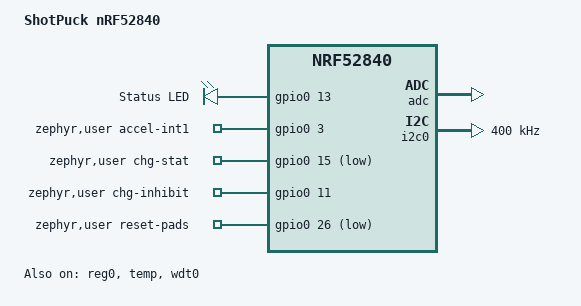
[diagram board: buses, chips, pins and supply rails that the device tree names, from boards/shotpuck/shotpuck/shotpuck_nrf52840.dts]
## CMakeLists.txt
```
# ShotPuck firmware - Zephyr 4.1 (also builds in nRF Connect SDK v3.0+)
cmake_minimum_required(VERSION 3.20.0)
list(APPEND BOARD_ROOT ${CMAKE_CURRENT_SOURCE_DIR})
find_package(Zephyr REQUIRED HINTS $ENV{ZEPHYR_BASE})
project(shotpuck)

target_sources(app PRIVATE
  src/main.c
  src/shot_detect.c
  src/accel.c
  src/capture.c
  src/capture_tx.c
  src/capcodec.c
  src/capdec.c
  src/capflash.c
  src/capstore.c
  src/capstore_layout.c
  src/capstore_scan.c
  src/capwriter.c
  src/chg_led.c
  src/evlog.c
  src/factory.c
  src/event_tx.c
  src/evq.c
  src/claim.c
  src/diag.c
  src/identity.c
  src/led.c
  src/led_seq.c
  src/ota.c
  src/power.c
  src/recovery.c
  src/store.c
  src/ble.c
  src/wire.c
)
```

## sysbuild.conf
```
SB_CONFIG_BOOTLOADER_MCUBOOT=y
SB_CONFIG_MCUBOOT_MODE_SWAP_USING_MOVE=y
SB_CONFIG_BOOT_SIGNATURE_TYPE_ECDSA_P256=y
```

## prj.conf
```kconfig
# ---- core
CONFIG_FPU=y
CONFIG_MAIN_STACK_SIZE=3072
CONFIG_SYSTEM_WORKQUEUE_STACK_SIZE=2048
CONFIG_GPIO=y
CONFIG_I2C=y
CONFIG_ADC=y
CONFIG_SENSOR=y
CONFIG_POWEROFF=y
CONFIG_LTO=y
CONFIG_ISR_TABLES_LOCAL_DECLARATION=y
CONFIG_CBPRINTF_FP_SUPPORT=n
CONFIG_PICOLIBC_IO_LONG_LONG=y

# ---- storage (lifetime count, thresholds)
CONFIG_FLASH=y
CONFIG_FLASH_MAP=y
CONFIG_NVS=y
CONFIG_SETTINGS=y
CONFIG_SETTINGS_NVS=y

# ---- Bluetooth LE peripheral
CONFIG_BT=y
CONFIG_BT_PERIPHERAL=y
CONFIG_BT_DEVICE_NAME="ShotPuck"
CONFIG_BT_MAX_CONN=1
CONFIG_BT_BAS=y
CONFIG_BT_GATT_CLIENT=y
CONFIG_BT_L2CAP_TX_MTU=247
CONFIG_BT_BUF_ACL_RX_SIZE=251
CONFIG_BT_BUF_ACL_TX_SIZE=251
CONFIG_BT_ATT_TX_COUNT=8
CONFIG_BT_CTLR_DATA_LENGTH_MAX=251
CONFIG_BT_GAP_AUTO_UPDATE_CONN_PARAMS=y
CONFIG_BT_PERIPHERAL_PREF_MIN_INT=84
CONFIG_BT_PERIPHERAL_PREF_MAX_INT=168
CONFIG_BT_PERIPHERAL_PREF_LATENCY=4
CONFIG_BT_PERIPHERAL_PREF_TIMEOUT=400
CONFIG_BT_DEVICE_NAME_DYNAMIC=y
CONFIG_BT_CTLR_PRIVACY=n
CONFIG_BT_CTLR_FILTER_ACCEPT_LIST=n
CONFIG_BT_CTLR_LE_PING=n
CONFIG_BT_CTLR_PER_INIT_FEAT_XCHG=n
CONFIG_BT_CTLR_MIN_USED_CHAN=n

# ---- pairing: LE Secure Connections, new bonds only while the charger is attached
CONFIG_BT_SMP=y
CONFIG_BT_SETTINGS=y
CONFIG_BT_SMP_APP_PAIRING_ACCEPT=y
CONFIG_BT_MAX_PAIRED=4
CONFIG_BT_KEYS_OVERWRITE_OLDEST=y

# ---- identity: Device Information Service with the chip's unique ID
CONFIG_HWINFO=y
CONFIG_INIT_STACKS=y
CONFIG_SETTINGS_RUNTIME=y
CONFIG_BT_DIS=y
CONFIG_BT_DIS_SETTINGS=y
CONFIG_BT_DIS_SERIAL_NUMBER=y
CONFIG_BT_DIS_MODEL_NUMBER_STR="ShotPuck"
CONFIG_BT_DIS_MANUF_NAME=n
CONFIG_BT_DIS_PNP=n
CONFIG_BT_DIS_FW_REV=y

# ---- OTA: MCUboot (sysbuild) + MCUmgr SMP over BLE, paired phones only
CONFIG_MCUMGR=y
CONFIG_ZCBOR=y
CONFIG_NET_BUF=y
CONFIG_STREAM_FLASH=y
CONFIG_IMG_MANAGER=y
CONFIG_IMG_ERASE_PROGRESSIVELY=y
CONFIG_MCUMGR_GRP_IMG=y
CONFIG_MCUMGR_GRP_OS=y
CONFIG_MCUMGR_GRP_OS_ECHO=n
CONFIG_MCUMGR_TRANSPORT_BT=y
CONFIG_MCUMGR_TRANSPORT_BT_PERM_RW_ENCRYPT=y
CONFIG_MCUMGR_TRANSPORT_BT_REASSEMBLY=y

# ---- watchdog: a hung image resets, and MCUboot reverts an unconfirmed one
CONFIG_WATCHDOG=y

# ---- low power release build: no UART, no logging
CONFIG_SERIAL=n
CONFIG_CONSOLE=n
CONFIG_UART_CONSOLE=n
CONFIG_LOG=n
CONFIG_PRINTK=n
CONFIG_BOOT_BANNER=n
```

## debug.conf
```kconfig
# Debug overlay: west build ... -- -DEXTRA_CONF_FILE=debug.conf
# Logs over SEGGER RTT via the SWD (Tag-Connect) header.
# Upstream Zephyr: `west config manifest.project-filter -- +segger` and
# `west update` first. nRF Connect SDK includes it already.
CONFIG_LOG=y
CONFIG_USE_SEGGER_RTT=y
CONFIG_LOG_BACKEND_RTT=y
CONFIG_LOG_BACKEND_UART=n
```

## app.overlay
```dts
&reg1 {
	regulator-initial-mode = <NRF5X_REG_MODE_DCDC>;
};
```

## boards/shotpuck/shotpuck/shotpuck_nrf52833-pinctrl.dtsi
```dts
/* ShotPuck pin control. Pins chosen from the MDBT50Q bottom pad row. */
&pinctrl {
	i2c0_default: i2c0_default {
		group1 {
			psels = <NRF_PSEL(TWIM_SCL, 0, 4)>,
				<NRF_PSEL(TWIM_SDA, 0, 6)>;
			bias-pull-up;   /* internal pull-ups; external 4.7k DNP pads on PCB */
		};
	};
	i2c0_sleep: i2c0_sleep {
		group1 {
			psels = <NRF_PSEL(TWIM_SCL, 0, 4)>,
				<NRF_PSEL(TWIM_SDA, 0, 6)>;
			low-power-enable;
		};
	};
};
```

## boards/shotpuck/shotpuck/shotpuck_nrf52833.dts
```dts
/*
 * ShotPuck - nRF52833 (Raytac MDBT50Q-512K), VDDH = Li-ion cell.
 *
 * Pin map (MDBT50Q pad -> signal):
 *   P0.04 (20) I2C SCL      -> LSM6DSO32 SCL
 *   P0.06 (22) I2C SDA      -> LSM6DSO32 SDA
 *   P0.08 (24) ACCEL_INT1   <- LSM6DSO32 INT1
 *   P1.09 (26) CHG_STAT     <- MCP73831 STAT via BAT54 (low = charging)
 *   P0.27 (16) CHG_INHIBIT  -> Q2 gate (high = charging disabled)
 *   P0.13 (37) LED          -> LED anode via 1k (active high)
 *   VBUS  (32)              <- charger input after reverse-polarity diode
 */
/dts-v1/;
#include <nordic/nrf52833_qiaa.dtsi>
#include "shotpuck_nrf52833-pinctrl.dtsi"

/ {
	model = "ShotPuck nRF52833";
	compatible = "shotpuck,shotpuck-nrf52833";

	chosen {
		zephyr,sram = &sram0;
		zephyr,flash = &flash0;
		zephyr,code-partition = &slot0_partition;
		zephyr,settings-partition = &storage_partition;
	};

	leds {
		compatible = "gpio-leds";
		led0: led_0 {
			gpios = <&gpio0 13 GPIO_ACTIVE_HIGH>;
			label = "Status LED";
		};
	};

	zephyr,user {
		accel-int1-gpios = <&gpio0 8 GPIO_ACTIVE_HIGH>;
		chg-stat-gpios = <&gpio1 9 GPIO_ACTIVE_LOW>;
		chg-inhibit-gpios = <&gpio0 27 GPIO_ACTIVE_HIGH>;
	};

	aliases {
		led0 = &led0;
		watchdog0 = &wdt0;
	};
};

/* No DC/DC inductors assumed: REG0 and REG1 in LDO mode (works on every
 * module variant; see README "decisions" to enable DC/DC). */
&reg0 {
	status = "okay";
};

&reg1 {
	regulator-initial-mode = <NRF5X_REG_MODE_LDO>;
};

&adc {
	status = "okay";
};

&temp {
	status = "okay";
};

&gpiote {
	status = "okay";
};

&gpio0 {
	status = "okay";
};

&gpio1 {
	status = "okay";
};

&i2c0 {
	compatible = "nordic,nrf-twim";
	status = "okay";
	clock-frequency = <I2C_BITRATE_FAST>;
	pinctrl-0 = <&i2c0_default>;
	pinctrl-1 = <&i2c0_sleep>;
	pinctrl-names = "default", "sleep";
};

&flash0 {
	partitions {
		compatible = "fixed-partitions";
		#address-cells = <1>;
		#size-cells = <1>;

		boot_partition: partition@0 {
			label = "mcuboot";
			reg = <0x00000000 0xC000>;
		};
		slot0_partition: partition@c000 {
			label = "image-0";
			reg = <0x0000C000 0x37000>;
		};
		slot1_partition: partition@43000 {
			label = "image-1";
			reg = <0x00043000 0x2F000>;
		};
		eventlog_partition: partition@72000 {
			label = "eventlog";
			reg = <0x00072000 0x00008000>;
		};
		storage_partition: partition@7a000 {
			label = "storage";
			reg = <0x0007A000 0x00006000>;
		};
	};
};
```

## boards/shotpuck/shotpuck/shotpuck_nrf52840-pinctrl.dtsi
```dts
/* ShotPuck pin control. I2C on the BMD-340's left pad column, next to the IMU. */
&pinctrl {
	i2c0_default: i2c0_default {
		group1 {
			psels = <NRF_PSEL(TWIM_SCL, 0, 7)>,
				<NRF_PSEL(TWIM_SDA, 0, 5)>;
			bias-pull-up;   /* internal pull-ups */
		};
	};
	i2c0_sleep: i2c0_sleep {
		group1 {
			psels = <NRF_PSEL(TWIM_SCL, 0, 7)>,
				<NRF_PSEL(TWIM_SDA, 0, 5)>;
			low-power-enable;
		};
	};
};
```

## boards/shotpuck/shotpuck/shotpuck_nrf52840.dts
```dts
/*
 * ShotPuck - nRF52840 (u-blox BMD-340), VCCH = Li-ion cell.
 *
 * Pin map (BMD-340 pad -> signal):
 *   P0.05 (21) I2C SDA      -> LSM6DSV32X SDA
 *   P0.07 (23) I2C SCL      -> LSM6DSV32X SCL
 *   P0.03 (19) ACCEL_INT1   <- LSM6DSV32X INT1
 *   P0.15 (33) CHG_STAT     <- MCP73831 STAT via BAT54J (low = charging)
 *   P0.11 (27) CHG_INHIBIT  -> Q1B gate (high = charging disabled)
 *   P0.13 (31) LED          -> LED anode via 1k (active high)
 *   VBUS  (66)              <- charger input after reverse-polarity diode, 1k/100n filter
 */
/dts-v1/;
#include <nordic/nrf52840_qiaa.dtsi>
#include "shotpuck_nrf52840-pinctrl.dtsi"

/ {
	model = "ShotPuck nRF52840";
	compatible = "shotpuck,shotpuck-nrf52840";

	chosen {
		zephyr,sram = &sram0;
		zephyr,flash = &flash0;
		zephyr,code-partition = &slot0_partition;
		zephyr,settings-partition = &storage_partition;
	};

	leds {
		compatible = "gpio-leds";
		led0: led_0 {
			gpios = <&gpio0 13 GPIO_ACTIVE_HIGH>;
			label = "Status LED";
		};
	};

	zephyr,user {
		accel-int1-gpios = <&gpio0 3 GPIO_ACTIVE_HIGH>;
		chg-stat-gpios = <&gpio0 15 GPIO_ACTIVE_LOW>;
		chg-inhibit-gpios = <&gpio0 11 GPIO_ACTIVE_HIGH>;
		reset-pads-gpios = <&gpio0 26 (GPIO_PULL_UP | GPIO_ACTIVE_LOW)>;
	};

	aliases {
		led0 = &led0;
		watchdog0 = &wdt0;
	};
};

/* No DC/DC inductors assumed: REG0 and REG1 in LDO mode (works on every
 * module variant; see README "decisions" to enable DC/DC). */
&reg0 {
	status = "okay";
};

&reg1 {
	regulator-initial-mode = <NRF5X_REG_MODE_LDO>;
};

&adc {
	status = "okay";
};

&temp {
	status = "okay";
};

&wdt0 {
	status = "okay";
};

&gpiote {
	status = "okay";
};

&gpio0 {
	status = "okay";
};

&gpio1 {
	status = "okay";
};

&i2c0 {
	compatible = "nordic,nrf-twim";
	status = "okay";
	clock-frequency = <I2C_BITRATE_FAST>;
	pinctrl-0 = <&i2c0_default>;
	pinctrl-1 = <&i2c0_sleep>;
	pinctrl-names = "default", "sleep";
};

&flash0 {
	partitions {
		compatible = "fixed-partitions";
		#address-cells = <1>;
		#size-cells = <1>;

		boot_partition: partition@0 {
			label = "mcuboot";
			reg = <0x00000000 0x0000C000>;
		};
		slot0_partition: partition@c000 {
			label = "image-0";
			reg = <0x0000C000 0x00040000>;
		};
		slot1_partition: partition@4c000 {
			label = "image-1";
			reg = <0x0004C000 0x00040000>;
		};
		capture_partition: partition@8c000 {
			label = "captures";
			reg = <0x0008C000 0x00066000>;
		};
		eventlog_partition: partition@f2000 {
			label = "eventlog";
			reg = <0x000F2000 0x00008000>;
		};
		storage_partition: partition@fa000 {
			label = "storage";
			reg = <0x000FA000 0x00006000>;
		};
	};
};
```

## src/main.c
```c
/*
 * main.c - ShotPuck application.
 *
 * Event loop on one thread; all I2C and flash work happens here. ISRs and
 * BT callbacks only set flags / queue messages and give wake_sem.
 *
 *   IDLE   : LSM6DSV32X accelerometer at 15 Hz with wake interrupt, gyro
 *            off, CPU asleep. Advertising stops ADV_LINGER_MS after IDLE.
 *   ACTIVE : 480 Hz accel + gyro FIFO -> shot_detect.c and the capture
 *            ring; advertising / connected. Back to IDLE after
 *            cfg.idle_timeout_ms of stillness.
 */
#include <app_version.h>
#include <string.h>
#include <zephyr/kernel.h>
#include <zephyr/logging/log.h>
#include <zephyr/sys/atomic.h>
#include <zephyr/sys/byteorder.h>

#include "accel.h"
#include "ble.h"
#include "capflash.h"
#include "capture.h"
#include "capture_tx.h"
#include "capwriter.h"
#include "chg_led.h"
#include "claim.h"
#include "diag.h"
#include "event_tx.h"
#include "factory.h"
#include "led.h"
#include "ota.h"
#include "power.h"
#include "protocol.h"
#include "recovery.h"
#include "shot_detect.h"
#include "store.h"
#include "wire.h"

LOG_MODULE_REGISTER(main, LOG_LEVEL_INF);

#define FW_MAJOR APP_VERSION_MAJOR
#define FW_MINOR APP_VERSION_MINOR
#define ADV_LINGER_MS 120000
#define HOUSEKEEP_ACTIVE_MS 10000
#define HOUSEKEEP_IDLE_MS 60000
#define FIFO_BATCH_SAMPLES 32
#define FIFO_WATERMARK_SAMPLES 26
#define FIFO_DRAIN_ROUNDS 4
#define CTRL_SEQ_MSG_LEN 5
#define TX_POLL_MS 20
#define ACTIVE_POLL_MS 1000
#define IDLE_POLL_MS 2000
#define CLAIM_POLL_MS 250
#define CHARGER_POLL_MS 500
#define PAD_POLL_MS 250
#define CLAIM_BLINK_PERIOD_MS 1000
#define SENSOR_RETRY_MS 5000
#define SENSOR_STALL_MS 5000
#define NO_SENSOR_POLL_MS 1000

static K_SEM_DEFINE(wake_sem, 0, 1);
static atomic_t accel_pending;
static atomic_t conn_event;

struct ctrl_msg {
	uint8_t len;
	uint8_t data[16];
};
K_MSGQ_DEFINE(ctrl_q, sizeof(struct ctrl_msg), 4, 4);
K_MSGQ_DEFINE(cfg_q, sizeof(sp_config_t), 1, 4);

static store_t st;
static cap_t cap;
static capstore_t capstore;
static capw_t capw;
static bool captures_ok;
static sd_state_t det;

static wire_clock_t wall_clock;

static uint32_t active_start_ms;
static uint32_t sample_idx;
static uint32_t idle_since_ms;
static uint32_t last_batch_ms;

/* ---------------------------------------------------------------- utils */

static void resume_seq(void)
{
	st.seq = seq_resume(st.seq, event_tx_newest_seq());
	store_save_counts(&st);
}

static void publish_count(void)
{
	sp_count_t c = {.total = st.total, .last_seq = st.seq};
	ble_update_count(&c);
}

static void publish_status(void)
{
	const power_state_t *p = power_state();
	sp_status_t s = {
		.battery_pct = p->battery_pct,
		.battery_mv = p->battery_mv,
		.temp_c = p->temp_c,
		.flags = (p->vbus ? SP_ST_VBUS : 0) | (p->charging ? SP_ST_CHARGING : 0) |
			 (p->chg_inhibit ? SP_ST_CHG_INHIBIT : 0) |
			 (det.mode == SD_MODE_ACTIVE ? SP_ST_ACTIVE : 0) |
			 (wall_clock.set ? SP_ST_TIME_SET : 0),
		.fw_major = FW_MAJOR,
		.fw_minor = FW_MINOR,
	};
	ble_update_status(&s);
	diag_publish(&st);
}

/* ---------------------------------------------------------- callbacks */

static void accel_isr(void)
{
	atomic_set(&accel_pending, 1);
	k_sem_give(&wake_sem);
}

static int on_ctrl(const uint8_t *data, uint16_t len)
{
	struct ctrl_msg m = {.len = (uint8_t)MIN(len, sizeof(m.data))};
	memcpy(m.data, data, m.len);
	int err = k_msgq_put(&ctrl_q, &m, K_NO_WAIT);

	if (err == 0) {
		k_sem_give(&wake_sem);
	}
	return err;
}

static int on_cfg(const sp_config_t *c)
{
	k_msgq_purge(&cfg_q);
	int err = k_msgq_put(&cfg_q, c, K_NO_WAIT);

	k_sem_give(&wake_sem);
	return err;
}

static void on_tx_done(void)
{
	k_sem_give(&wake_sem);
}

static void on_conn(bool connected)
{
	ARG_UNUSED(connected);
	atomic_set(&conn_event, 1);
	k_sem_give(&wake_sem);
}

/* -------------------------------------------------------------- modes */

static void go_active(void)
{
	accel_set_active();
	active_start_ms = k_uptime_get_32();
	last_batch_ms = active_start_ms;
	sample_idx = 0;
	cap_reset(&cap);
	sd_start_active(&det, active_start_ms);
	ble_adv_start();
	LOG_INF("ACTIVE");
}

static void go_idle(void)
{
	accel_set_idle((uint16_t)st.cfg.wake_mg);
	det.mode = SD_MODE_IDLE;
	idle_since_ms = k_uptime_get_32();
	store_save_counts(&st);
	LOG_INF("IDLE");
}

/* ------------------------------------------------------------- events */

static void request_capture(const sd_event_t *e, uint32_t seq)
{
	capw_request_t req = {
		.seq = seq,
		.trigger = cap_ms_to_index(e->t_ms - active_start_ms),
		.epoch = cap.epoch,
		.mode = st.capture_mode,
	};

	if (captures_ok) {
		capw_request(&capw, &req);
	}
}

static void handle_detection(const sd_event_t *e, int64_t uptime_ms)
{
	sp_event_t w = {
		.seq = ++st.seq,
		.t_unix_ms = wire_clock_unix_ms(&wall_clock, uptime_ms),
		.t_uptime_ms = (uint32_t)uptime_ms,
		.peak_hf_mg = e->peak_hf_mg,
		.pre_still_ms = e->pre_still_ms,
		.post_lf_mg = e->post_lf_mg,
		.accepted = e->accepted,
		.reason = e->reason,
	};
	event_tx_record(&w);
	if (e->accepted) {
		st.total++;
		store_save_counts(&st);
		publish_count();
		request_capture(e, w.seq);
		led_play(LED_SHOT);
		LOG_INF("SHOT #%u pk=%u still=%u lf=%u", st.total, e->peak_hf_mg,
			e->pre_still_ms, e->post_lf_mg);
	} else {
		LOG_INF("reject r=%u pk=%u still=%u lf=%u", e->reason, e->peak_hf_mg,
			e->pre_still_ms, e->post_lf_mg);
	}
}

static uint32_t sample_ms(uint32_t index)
{
	return active_start_ms + cap_index_to_ms(index);
}

static void restart_stream(uint32_t now)
{
	LOG_WRN("FIFO overrun");
	active_start_ms = now;
	sample_idx = 0;
	cap_reset(&cap);
	sd_start_active(&det, now);
}

static void process_batch(const accel_fifo_t *fifo, uint32_t n)
{
	int64_t now = k_uptime_get();
	uint32_t t_last = sample_ms(sample_idx + n - 1u);

	for (uint32_t i = 0; i < n; i++) {
		int16_t mg[3];
		sd_event_t e;

		cap_push(&cap, &fifo->samples[i]);
		accel_to_mg(&fifo->samples[i], mg);
		if (sd_process(&det, mg, sample_ms(sample_idx++), &e)) {
			handle_detection(&e, now - (t_last - e.t_ms));
		}
	}
}

static void handle_accel(void)
{
	static sp_cap_sample_t buf[FIFO_BATCH_SAMPLES];
	accel_fifo_t fifo = {.samples = buf, .max = FIFO_BATCH_SAMPLES};

	if (accel_mode() == ACCEL_IDLE) {
		if (accel_clear_wake() > 0) {
			go_active();
		} else {
			accel_irq_rearm();
		}
		return;
	}
	if (accel_mode() != ACCEL_ACTIVE) {
		return;
	}
	for (int round = 0; round < FIFO_DRAIN_ROUNDS; round++) {
		int n = accel_read_fifo(&fifo);
		if (n <= 0) {
			break;
		}
		if (fifo.overrun) {
			restart_stream(k_uptime_get_32());
		}
		process_batch(&fifo, (uint32_t)n);
		last_batch_ms = k_uptime_get_32();
		if (n < FIFO_WATERMARK_SAMPLES) {
			break;
		}
	}
	if (sd_active_should_sleep(&det, sample_ms(sample_idx))) {
		go_idle();
	} else {
		accel_irq_rearm();
	}
}

static void handle_ctrl(void)
{
	struct ctrl_msg m;

	while (k_msgq_get(&ctrl_q, &m, K_NO_WAIT) == 0) {
		switch (m.data[0]) {
		case SP_CTRL_SET_TIME:
			if (m.len >= 9) {
				wire_time_t now = {
					.unix_ms = (int64_t)sys_get_le64(&m.data[1]),
					.uptime_ms = k_uptime_get(),
				};
				wire_clock_set(&wall_clock, &now);
				publish_status();
			}
			break;
		case SP_CTRL_RESET_COUNT:
			st.total = 0;
			store_save_counts(&st);
			publish_count();
			break;
		case SP_CTRL_REPLAY:
			if (m.len >= 5) {
				event_tx_replay(sys_get_le32(&m.data[1]));
			}
			break;
		case SP_CTRL_FACTORY_CFG: {
			sp_config_t w;
			sd_default_config(&st.cfg);
			det.cfg = st.cfg;
			store_save_cfg(&st);
			wire_config_out(&st, &w);
			ble_update_config(&w);
			break;
		}
		case SP_CTRL_GET_CAPTURE:
			if (m.len >= CTRL_SEQ_MSG_LEN) {
				cap_tx_queue(sys_get_le32(&m.data[1]));
			}
			break;
		case SP_CTRL_FORGET_BONDS:
			claim_forget_all();
			break;
		case SP_CTRL_LED_BLINK:
			led_play(LED_FIND);
			break;
		default:
			break;
		}
	}
}

static bool sensor_stuck(void)
{
	if (det.mode == SD_MODE_ACTIVE) {
		return k_uptime_get_32() - last_batch_ms >= SENSOR_STALL_MS;
	}
	return !accel_idle_ok();
}

static void check_sensor(void)
{
	if (!sensor_stuck()) {
		return;
	}
	LOG_WRN("IMU not responding: re-initialising");
	if (accel_init(accel_isr) != 0) {
		return;
	}
	if (det.mode == SD_MODE_ACTIVE) {
		go_active();
	} else {
		accel_set_idle((uint16_t)st.cfg.wake_mg);
	}
}

static void apply_config(void)
{
	sp_config_t c;

	if (k_msgq_get(&cfg_q, &c, K_NO_WAIT) != 0) {
		return;
	}
	wire_config_in(&c, &st);
	det.cfg = st.cfg;
	store_save_cfg(&st);
	LOG_INF("config updated");
}

static void housekeeping(void)
{
	power_update();
	if (power_should_cutoff()) {
		store_save_counts(&st);
		accel_off();
		ble_adv_stop();
		power_off_until_charger();
	}
	check_sensor();
	publish_status();
}

static void check_boot_battery(void)
{
	for (uint32_t i = 0; i < RECOVERY_LOW_BATTERY_READINGS; i++) {
		power_update();
	}
	if (power_should_cutoff()) {
		accel_off();
		power_off_until_charger();
	}
}

static void wait_without_sensor(void)
{
	for (uint32_t waited = 0; waited < SENSOR_RETRY_MS; waited += NO_SENSOR_POLL_MS) {
		if (ota_image_confirmed()) {
			ota_feed();
		}
		if (!ble_is_connected()) {
			ble_adv_start();
		}
		led_play(LED_NO_SENSOR);
		k_msleep(NO_SENSOR_POLL_MS);
	}
}

static void wait_for_sensor(void)
{
	while (accel_init(accel_isr) != 0) {
		wait_without_sensor();
	}
}

static void claim_feedback(void)
{
	static uint32_t last_blink_ms;
	uint32_t now = k_uptime_get_32();

	if (claim_take_paired()) {
		led_play(LED_PAIRED);
	}
	if (claim_is_open() && now - last_blink_ms >= CLAIM_BLINK_PERIOD_MS) {
		last_blink_ms = now;
		led_play(LED_CLAIM);
	}
}

static void charge_feedback(void)
{
	static uint32_t last_tick_ms;
	uint32_t now = k_uptime_get_32();

	if (!power_vbus_present() || claim_is_open()) {
		led_steady((led_steady_t){LED_STEADY_CHARGE_FULL, false});
		return;
	}
	if (now - last_tick_ms < CHG_LED_TICK_MS) {
		return;
	}
	last_tick_ms = now;
	chg_led_mode_t mode = chg_led_mode(power_update());
	led_steady((led_steady_t){LED_STEADY_CHARGE_FULL, mode == CHG_LED_FULL});
	led_play_pulses(chg_led_pulses(mode));
}

static uint32_t poll_period(bool active)
{
	if (event_tx_busy() || cap_tx_busy() || capw_busy(&capw)) {
		return TX_POLL_MS;
	}
	if (factory_pads_held()) {
		return PAD_POLL_MS;
	}
	if (claim_is_open()) {
		return CLAIM_POLL_MS;
	}
	if (power_vbus_present()) {
		return CHARGER_POLL_MS;
	}
	return active ? ACTIVE_POLL_MS : IDLE_POLL_MS;
}

/* --------------------------------------------------------------- main */

int main(void)
{
	sp_config_t w;

	power_regout0_3v0(); /* may reset once on first boot */
	diag_boot();
	factory_boot_guard();
	if (ota_init()) {
		LOG_ERR("watchdog unavailable");
	}

	led_init();
	if (factory_pads_init()) {
		LOG_ERR("reset pads unavailable");
	}
	if (power_init() == 0) {
		check_boot_battery();
	}

	sd_default_config(&st.cfg);
	store_init(&st);
	diag_count_crash(&st);
	if (!wire_config_normalize(&st)) {
		LOG_WRN("stored config invalid: using defaults");
		sd_default_config(&st.cfg);
		st.capture_mode = SP_CAPTURE_STANDARD;
	}
	if (event_tx_init()) {
		LOG_ERR("shot log unavailable");
	}
	resume_seq();
	st.cfg.fs_hz = (float)CAP_ODR_HZ;
	sd_init(&det, &st.cfg);
	cap_init(&cap);
	captures_ok = capflash_init(&capstore) == 0;
	if (!captures_ok) {
		LOG_ERR("capture store unavailable");
	}
	capw_init(&capw, &(capw_deps_t){&cap, &capstore});
	cap_tx_init(&capstore, &capw);
	ble_set_tx_done_cb(on_tx_done);

	wire_config_out(&st, &w);
	ble_update_config(&w);
	if (ble_init(on_ctrl, on_cfg, on_conn) || claim_init()) {
		LOG_ERR("BLE init failed");
	}
	publish_count();
	publish_status();

	wait_for_sensor();
	led_play(LED_BOOT);
	go_active(); /* start awake so a phone can connect right after boot */

	uint32_t last_hk = k_uptime_get_32();

	for (;;) {
		bool active = det.mode == SD_MODE_ACTIVE;
		uint32_t hk_period = active ? HOUSEKEEP_ACTIVE_MS : HOUSEKEEP_IDLE_MS;

		k_sem_take(&wake_sem, K_MSEC(poll_period(active)));
		ota_feed();
		ota_confirm_when_healthy(ble_link_secured());

		if (atomic_cas(&accel_pending, 1, 0)) {
			handle_accel();
		}
		handle_ctrl();
		claim_poll(power_vbus_present());
		ble_adv_set_pairing(claim_is_open());
		claim_feedback();
		factory_poll();
		if (!factory_pads_held()) {
			charge_feedback();
		}
		if (event_tx_busy()) {
			event_tx_pump();
		}
		if (capw_busy(&capw) && capw_pump(&capw) == CAPW_COMMITTED) {
			cap_tx_queue(capw.committed_seq);
		}
		if (cap_tx_busy()) {
			cap_tx_pump();
		}
		ble_set_bulk(event_tx_busy() || cap_tx_busy());
		apply_config();

		uint32_t now = k_uptime_get_32();
		bool in_linger = det.mode == SD_MODE_ACTIVE || (now - idle_since_ms) < ADV_LINGER_MS ||
				 claim_is_open();
		if (atomic_cas(&conn_event, 1, 0) || !ble_is_advertising()) {
			if (!ble_is_connected() && in_linger) {
				ble_adv_start();
			}
		}
		if (!in_linger && ble_is_advertising()) {
			ble_adv_stop();
		}
		if (now - last_hk >= hk_period) {
			last_hk = now;
			housekeeping();
		}
	}
	return 0;
}
```

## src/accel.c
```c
#include "accel.h"

#include <string.h>
#include <zephyr/drivers/gpio.h>
#include <zephyr/drivers/i2c.h>
#include <zephyr/kernel.h>
#include <zephyr/logging/log.h>
#include <zephyr/sys/byteorder.h>

#include "accel_regs.h"
#include "capture.h"
#include "shot_detect.h"

LOG_MODULE_REGISTER(accel, LOG_LEVEL_INF);

#define FIFO_BURST_WORDS 32
#define FIFO_TAG_SHIFT 3
#define FIFO_TAG_GYRO 0x01
#define FIFO_TAG_ACC 0x02
#define AXES 3
#define AXIS_BYTES 2
#define RESET_WAIT_MS 5
#define IDLE_SETTLE_MS 200
#define UG_PER_MG 1000

static const struct device *const i2c = DEVICE_DT_GET(DT_NODELABEL(i2c0));
static const struct gpio_dt_spec int1 =
	GPIO_DT_SPEC_GET(DT_PATH(zephyr_user), accel_int1_gpios);
static struct gpio_callback int1_cb;
static accel_irq_handler_t user_handler;
static accel_mode_t cur_mode = ACCEL_OFF;
static int16_t last_gyro[AXES];

static int wr(uint8_t reg, uint8_t val)
{
	return i2c_reg_write_byte(i2c, I2C_ADDR, reg, val);
}

static int rd(uint8_t reg, uint8_t *val)
{
	return i2c_reg_read_byte(i2c, I2C_ADDR, reg, val);
}

static void int1_isr(const struct device *dev, struct gpio_callback *cb, uint32_t pins)
{
	ARG_UNUSED(dev);
	ARG_UNUSED(cb);
	ARG_UNUSED(pins);
	gpio_pin_interrupt_configure_dt(&int1, GPIO_INT_DISABLE);
	if (user_handler) {
		user_handler();
	}
}

static int probe(void)
{
	uint8_t id = 0;
	int err = rd(REG_WHO_AM_I, &id);

	if (err || id != WHO_AM_I_VAL) {
		LOG_ERR("LSM6DSV32X not found (err %d id 0x%02x)", err, id);
		return -ENODEV;
	}
	return 0;
}

static int configure(void)
{
	int err = wr(REG_CTRL3, CTRL3_SW_RESET);

	k_msleep(RESET_WAIT_MS);
	err = err ? err : wr(REG_CTRL3, CTRL3_BDU | CTRL3_IF_INC);
	err = err ? err : wr(REG_IF_CFG, IF_CFG_ANTISPIKE_ALWAYS_ON);
	err = err ? err : wr(REG_CTRL8, CTRL8_RESERVED_SET | FS_XL_32G);
	return err ? err : wr(REG_CTRL6, FS_G_2000DPS);
}

int accel_init(accel_irq_handler_t handler)
{
	if (!device_is_ready(i2c) || !gpio_is_ready_dt(&int1)) {
		return -ENODEV;
	}
	if (probe() != 0) {
		(void)i2c_recover_bus(i2c);
		if (probe() != 0) {
			return -ENODEV;
		}
	}
	int err = configure();
	if (err) {
		return err;
	}

	user_handler = handler;
	gpio_pin_configure_dt(&int1, GPIO_INPUT);
	gpio_init_callback(&int1_cb, int1_isr, BIT(int1.pin));
	gpio_add_callback(int1.port, &int1_cb);
	gpio_pin_interrupt_configure_dt(&int1, GPIO_INT_LEVEL_ACTIVE);
	return 0;
}

static void irq_pause(void)
{
	gpio_pin_interrupt_configure_dt(&int1, GPIO_INT_DISABLE);
}

void accel_irq_rearm(void)
{
	gpio_pin_interrupt_configure_dt(&int1, GPIO_INT_LEVEL_ACTIVE);
}

int accel_set_idle(uint16_t wake_mg)
{
	uint8_t dummy;

	irq_pause();
	wr(REG_MD1_CFG, REG_OFF);
	wr(REG_INT1_CTRL, REG_OFF);
	wr(REG_FIFO_CTRL4, FIFO_MODE_BYPASS);
	wr(REG_CTRL2, REG_OFF);
	wr(REG_CTRL1, OP_MODE_XL_LOW_POWER_2_AVG | ODR_15HZ);
	wr(REG_TAP_CFG0, TAP_CFG0_LATCHED);
	wr(REG_FUNCTIONS_ENABLE, FUNCTIONS_INTERRUPTS_ENABLE);
	wr(REG_INACTIVITY_DUR, WAKE_THS_WEIGHT_31MG | INACT_ODR_DEFAULT);
	wr(REG_WAKE_UP_THS, sd_wake_ths_lsb((float)wake_mg));
	k_msleep(IDLE_SETTLE_MS);
	rd(REG_WAKE_UP_SRC, &dummy);
	wr(REG_MD1_CFG, MD1_INT1_WU);
	cur_mode = ACCEL_IDLE;
	accel_irq_rearm();
	return 0;
}

int accel_set_active(void)
{
	uint8_t dummy;

	irq_pause();
	wr(REG_MD1_CFG, REG_OFF);
	rd(REG_WAKE_UP_SRC, &dummy);
	wr(REG_FUNCTIONS_ENABLE, REG_OFF);
	wr(REG_FIFO_CTRL4, FIFO_MODE_BYPASS);
	wr(REG_FIFO_CTRL1, FIFO_WTM_WORDS);
	wr(REG_FIFO_CTRL2, REG_OFF);
	wr(REG_FIFO_CTRL3, FIFO_BDR_XL_GY_480HZ);
	wr(REG_CTRL1, OP_MODE_HIGH_PERF | ODR_480HZ);
	wr(REG_CTRL2, OP_MODE_HIGH_PERF | ODR_480HZ);
	wr(REG_FIFO_CTRL4, FIFO_MODE_STREAM);
	wr(REG_INT1_CTRL, INT1_FIFO_TH);
	memset(last_gyro, 0, sizeof(last_gyro));
	cur_mode = ACCEL_ACTIVE;
	accel_irq_rearm();
	return 0;
}

int accel_off(void)
{
	irq_pause();
	wr(REG_MD1_CFG, REG_OFF);
	wr(REG_INT1_CTRL, REG_OFF);
	wr(REG_FIFO_CTRL4, FIFO_MODE_BYPASS);
	wr(REG_CTRL1, REG_OFF);
	wr(REG_CTRL2, REG_OFF);
	cur_mode = ACCEL_OFF;
	return 0;
}

accel_mode_t accel_mode(void)
{
	return cur_mode;
}

bool accel_idle_ok(void)
{
	uint8_t ctrl1 = 0;
	uint8_t md1 = 0;

	if (rd(REG_CTRL1, &ctrl1) || rd(REG_MD1_CFG, &md1)) {
		return false;
	}
	return ctrl1 == (OP_MODE_XL_LOW_POWER_2_AVG | ODR_15HZ) && md1 == MD1_INT1_WU;
}

int accel_clear_wake(void)
{
	uint8_t src = 0;
	int err = rd(REG_WAKE_UP_SRC, &src);

	return err ? err : (src & WAKE_UP_SRC_WU_IA) ? 1 : 0;
}

static int fifo_level(int *overrun)
{
	uint8_t st[2];

	if (i2c_burst_read(i2c, I2C_ADDR, REG_FIFO_STATUS1, st, sizeof(st))) {
		return -EIO;
	}
	*overrun = (st[1] & FIFO_STATUS2_OVERRUN) ? 1 : 0;
	return st[0] | ((st[1] & FIFO_STATUS2_DIFF_HI) << BITS_PER_BYTE);
}

static uint8_t fifo_burst[FIFO_BURST_WORDS * FIFO_WORD_BYTES];

static void unpack_axes(const uint8_t *b, int16_t out[AXES])
{
	for (int i = 0; i < AXES; i++) {
		out[i] = (int16_t)sys_get_le16(&b[i * AXIS_BYTES]);
	}
}

static void store_acc(sp_cap_sample_t *s, const uint8_t *b)
{
	int16_t acc[AXES];

	unpack_axes(b, acc);
	for (int i = 0; i < AXES; i++) {
		s->acc[i] = acc[i];
		s->gyro[i] = last_gyro[i];
	}
}

static int take_word(const uint8_t *word, sp_cap_sample_t *slot)
{
	uint8_t tag = word[0] >> FIFO_TAG_SHIFT;

	if (tag == FIFO_TAG_GYRO) {
		unpack_axes(&word[1], last_gyro);
	} else if (tag == FIFO_TAG_ACC) {
		store_acc(slot, &word[1]);
		return 1;
	}
	return 0;
}

int accel_read_fifo(accel_fifo_t *fifo)
{
	int words = fifo_level(&fifo->overrun);
	int n = 0;

	if (words < 0) {
		return words;
	}
	while (words > 0 && n < fifo->max) {
		int count = MIN(MIN(words, fifo->max - n), FIFO_BURST_WORDS);

		if (i2c_burst_read(i2c, I2C_ADDR, REG_FIFO_DATA_OUT_TAG, fifo_burst,
				   (uint32_t)count * FIFO_WORD_BYTES)) {
			return -EIO;
		}
		for (int w = 0; w < count; w++) {
			n += take_word(&fifo_burst[w * FIFO_WORD_BYTES], &fifo->samples[n]);
		}
		words -= count;
	}
	return n;
}

void accel_to_mg(const sp_cap_sample_t *raw, int16_t mg[3])
{
	for (int i = 0; i < AXES; i++) {
		mg[i] = (int16_t)(((int32_t)raw->acc[i] * (int32_t)CAP_ACC_UG_PER_LSB) / UG_PER_MG);
	}
}
```

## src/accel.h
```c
#ifndef ACCEL_H
#define ACCEL_H

#include <stdbool.h>
#include <stdint.h>

#include "protocol.h"

typedef enum { ACCEL_OFF, ACCEL_IDLE, ACCEL_ACTIVE } accel_mode_t;

typedef void (*accel_irq_handler_t)(void);

typedef struct {
	sp_cap_sample_t *samples;
	int max;
	int overrun;
} accel_fifo_t;

int accel_init(accel_irq_handler_t handler);
int accel_set_idle(uint16_t wake_mg);
int accel_set_active(void);
int accel_off(void);
accel_mode_t accel_mode(void);
bool accel_idle_ok(void);
void accel_irq_rearm(void);
int accel_clear_wake(void);
int accel_read_fifo(accel_fifo_t *fifo);
void accel_to_mg(const sp_cap_sample_t *raw, int16_t mg[3]);

#endif
```

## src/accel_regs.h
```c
#ifndef ACCEL_REGS_H
#define ACCEL_REGS_H

#define I2C_ADDR 0x6A
#define WHO_AM_I_VAL 0x70

#define REG_IF_CFG 0x03
#define REG_FIFO_CTRL1 0x07
#define REG_FIFO_CTRL2 0x08
#define REG_FIFO_CTRL3 0x09
#define REG_FIFO_CTRL4 0x0A
#define REG_INT1_CTRL 0x0D
#define REG_WHO_AM_I 0x0F
#define REG_CTRL1 0x10
#define REG_CTRL2 0x11
#define REG_CTRL3 0x12
#define REG_CTRL6 0x15
#define REG_CTRL8 0x17
#define REG_FIFO_STATUS1 0x1B
#define REG_WAKE_UP_SRC 0x45
#define REG_FUNCTIONS_ENABLE 0x50
#define REG_INACTIVITY_DUR 0x54
#define REG_TAP_CFG0 0x56
#define REG_WAKE_UP_THS 0x5B
#define REG_MD1_CFG 0x5E
#define REG_FIFO_DATA_OUT_TAG 0x78

#define REG_OFF 0x00
#define CTRL3_SW_RESET 0x01
#define CTRL3_IF_INC 0x04
#define CTRL3_BDU 0x40
#define IF_CFG_ANTISPIKE_ALWAYS_ON 0x20
#define OP_MODE_HIGH_PERF 0x00
#define OP_MODE_XL_LOW_POWER_2_AVG 0x40
#define ODR_15HZ 0x03
#define ODR_480HZ 0x08
#define CTRL8_RESERVED_SET 0x04
#define FS_XL_32G 0x03
#define FS_G_2000DPS 0x04
#define TAP_CFG0_LATCHED 0x01
#define FUNCTIONS_INTERRUPTS_ENABLE 0x80
#define INACT_ODR_DEFAULT 0x04
#define WAKE_THS_WEIGHT_31MG 0x20
#define MD1_INT1_WU 0x20
#define WAKE_UP_SRC_WU_IA 0x08
#define INT1_FIFO_TH 0x08
#define FIFO_MODE_BYPASS 0x00
#define FIFO_MODE_STREAM 0x06
#define FIFO_BDR_XL_GY_480HZ 0x88
#define FIFO_WTM_WORDS 52
#define FIFO_STATUS2_DIFF_HI 0x01
#define FIFO_STATUS2_OVERRUN 0x40
#define FIFO_WORD_BYTES 7

#endif
```

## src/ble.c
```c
/* ble.c - see ble.h */
#include "ble.h"

#include <string.h>

#include <zephyr/bluetooth/bluetooth.h>
#include <zephyr/bluetooth/byteorder.h>
#include <zephyr/bluetooth/conn.h>
#include <zephyr/bluetooth/gatt.h>
#include <zephyr/bluetooth/services/bas.h>
#include <zephyr/bluetooth/uuid.h>
#include <zephyr/kernel.h>
#include <zephyr/logging/log.h>
#include <zephyr/settings/settings.h>
#include <zephyr/sys/atomic.h>

#include "identity.h"
#include "wire.h"

LOG_MODULE_REGISTER(ble, LOG_LEVEL_INF);

#define ATT_NOTIFY_OVERHEAD 3u
#define NOTIFY_MAX_IN_FLIGHT 2
#define ENCRYPTED_CCC (BT_GATT_PERM_READ | BT_GATT_PERM_WRITE_ENCRYPT)
#define FAST_INTERVAL_MIN 12
#define FAST_INTERVAL_MAX 24
#define FAST_LATENCY 0
#define BULK_LINGER_MS 5000u

static struct bt_uuid_128 uuid_svc = BT_UUID_INIT_128(SP_UUID_SERVICE);
static struct bt_uuid_128 uuid_count = BT_UUID_INIT_128(SP_UUID_COUNT);
static struct bt_uuid_128 uuid_event = BT_UUID_INIT_128(SP_UUID_EVENT);
static struct bt_uuid_128 uuid_ctrl = BT_UUID_INIT_128(SP_UUID_CONTROL);
static struct bt_uuid_128 uuid_cfg = BT_UUID_INIT_128(SP_UUID_CONFIG);
static struct bt_uuid_128 uuid_status = BT_UUID_INIT_128(SP_UUID_STATUS);
static struct bt_uuid_128 uuid_capture = BT_UUID_INIT_128(SP_UUID_CAPTURE);
static struct bt_uuid_128 uuid_diag = BT_UUID_INIT_128(SP_UUID_DIAG);

static sp_count_t v_count;
static sp_status_t v_status;
static sp_config_t v_cfg;
static sp_diag_t v_diag;

static ble_ctrl_cb_t on_ctrl;
static ble_cfg_cb_t on_cfg;
static ble_conn_cb_t on_conn;
static ble_tx_done_cb_t on_tx_done;
static atomic_t notify_in_flight;
static atomic_t link_secured;

static struct bt_conn *cur_conn;
static bool advertising;
static bool notify_count, notify_event, notify_status, notify_capture;
static bool fast_link;
static uint32_t bulk_seen_ms;

static const struct bt_le_conn_param fast_param =
	BT_LE_CONN_PARAM_INIT(FAST_INTERVAL_MIN, FAST_INTERVAL_MAX, FAST_LATENCY,
			      CONFIG_BT_PERIPHERAL_PREF_TIMEOUT);
static const struct bt_le_conn_param slow_param =
	BT_LE_CONN_PARAM_INIT(CONFIG_BT_PERIPHERAL_PREF_MIN_INT, CONFIG_BT_PERIPHERAL_PREF_MAX_INT,
			      CONFIG_BT_PERIPHERAL_PREF_LATENCY, CONFIG_BT_PERIPHERAL_PREF_TIMEOUT);

static ssize_t rd_blob(struct bt_conn *conn, const struct bt_gatt_attr *attr, void *buf,
		       uint16_t len, uint16_t offset)
{
	const void *v = attr->user_data;
	size_t sz = (v == &v_count) ? sizeof(v_count) :
		    (v == &v_status) ? sizeof(v_status) :
		    (v == &v_diag) ? sizeof(v_diag) : sizeof(v_cfg);
	return bt_gatt_attr_read(conn, attr, buf, len, offset, v, sz);
}

static ssize_t wr_ctrl(struct bt_conn *conn, const struct bt_gatt_attr *attr, const void *buf,
		       uint16_t len, uint16_t offset, uint8_t flags)
{
	ARG_UNUSED(conn);
	ARG_UNUSED(attr);
	ARG_UNUSED(flags);
	if (offset != 0 || len < 1 || len > 16) {
		return BT_GATT_ERR(BT_ATT_ERR_INVALID_ATTRIBUTE_LEN);
	}
	if (on_ctrl && on_ctrl(buf, len) != 0) {
		return BT_GATT_ERR(BT_ATT_ERR_INSUFFICIENT_RESOURCES);
	}
	return len;
}

static ssize_t wr_cfg(struct bt_conn *conn, const struct bt_gatt_attr *attr, const void *buf,
		      uint16_t len, uint16_t offset, uint8_t flags)
{
	ARG_UNUSED(conn);
	ARG_UNUSED(attr);
	ARG_UNUSED(flags);
	sp_config_t c = v_cfg;
	wire_bytes_t in = {.data = buf, .len = len};
	wire_cfg_result_t parsed = offset ? WIRE_CFG_BAD_LENGTH : wire_config_parse(&c, &in);

	if (parsed == WIRE_CFG_BAD_LENGTH) {
		return BT_GATT_ERR(BT_ATT_ERR_INVALID_ATTRIBUTE_LEN);
	}
	if (parsed != WIRE_CFG_OK || !on_cfg || on_cfg(&c) != 0) {
		return BT_GATT_ERR(BT_ATT_ERR_VALUE_NOT_ALLOWED);
	}
	v_cfg = c;
	return len;
}

static void ccc_count(const struct bt_gatt_attr *a, uint16_t v)
{
	ARG_UNUSED(a);
	notify_count = v == BT_GATT_CCC_NOTIFY;
}
static void ccc_event(const struct bt_gatt_attr *a, uint16_t v)
{
	ARG_UNUSED(a);
	notify_event = v == BT_GATT_CCC_NOTIFY;
}
static void ccc_status(const struct bt_gatt_attr *a, uint16_t v)
{
	ARG_UNUSED(a);
	notify_status = v == BT_GATT_CCC_NOTIFY;
}
static void ccc_capture(const struct bt_gatt_attr *a, uint16_t v)
{
	ARG_UNUSED(a);
	notify_capture = v == BT_GATT_CCC_NOTIFY;
}

BT_GATT_SERVICE_DEFINE(sp_svc,
	BT_GATT_PRIMARY_SERVICE(&uuid_svc),
	/* [1] count */
	BT_GATT_CHARACTERISTIC(&uuid_count.uuid, BT_GATT_CHRC_READ | BT_GATT_CHRC_NOTIFY,
			       BT_GATT_PERM_READ_ENCRYPT, rd_blob, NULL, &v_count),
	BT_GATT_CCC(ccc_count, ENCRYPTED_CCC),
	/* [4] event */
	BT_GATT_CHARACTERISTIC(&uuid_event.uuid, BT_GATT_CHRC_NOTIFY, BT_GATT_PERM_NONE,
			       NULL, NULL, NULL),
	BT_GATT_CCC(ccc_event, ENCRYPTED_CCC),
	/* [7] control */
	BT_GATT_CHARACTERISTIC(&uuid_ctrl.uuid, BT_GATT_CHRC_WRITE, BT_GATT_PERM_WRITE_ENCRYPT, NULL,
			       wr_ctrl, NULL),
	/* [9] config */
	BT_GATT_CHARACTERISTIC(&uuid_cfg.uuid, BT_GATT_CHRC_READ | BT_GATT_CHRC_WRITE,
			       BT_GATT_PERM_READ_ENCRYPT | BT_GATT_PERM_WRITE_ENCRYPT, rd_blob, wr_cfg,
			       &v_cfg),
	/* [11] status */
	BT_GATT_CHARACTERISTIC(&uuid_status.uuid, BT_GATT_CHRC_READ | BT_GATT_CHRC_NOTIFY,
			       BT_GATT_PERM_READ_ENCRYPT, rd_blob, NULL, &v_status),
	BT_GATT_CCC(ccc_status, ENCRYPTED_CCC),
	BT_GATT_CHARACTERISTIC(&uuid_capture.uuid, BT_GATT_CHRC_NOTIFY, BT_GATT_PERM_NONE,
			       NULL, NULL, NULL),
	BT_GATT_CCC(ccc_capture, ENCRYPTED_CCC),
	BT_GATT_CHARACTERISTIC(&uuid_diag.uuid, BT_GATT_CHRC_READ, BT_GATT_PERM_READ_ENCRYPT,
			       rd_blob, NULL, &v_diag),
);

#define ATTR_COUNT (&sp_svc.attrs[1])
#define ATTR_EVENT (&sp_svc.attrs[4])
#define ATTR_STATUS (&sp_svc.attrs[11])
#define ATTR_CAPTURE (&sp_svc.attrs[14])

enum { AD_FLAGS, AD_SERVICE, AD_PAIRING, AD_FIELDS };

static const struct bt_data ad[AD_FIELDS] = {
	[AD_FLAGS] = BT_DATA_BYTES(BT_DATA_FLAGS, (BT_LE_AD_GENERAL | BT_LE_AD_NO_BREDR)),
	[AD_SERVICE] = BT_DATA_BYTES(BT_DATA_UUID128_ALL, SP_UUID_SERVICE),
	[AD_PAIRING] = BT_DATA_BYTES(BT_DATA_MANUFACTURER_DATA,
				     BT_BYTES_LIST_LE16(SP_ADV_COMPANY_ID), SP_ADV_PAIRING_OPEN),
};

static bool pairing_open;

/* 500-525 ms advertising interval: ~10 uA average while advertising */
static const struct bt_le_adv_param adv_param =
	BT_LE_ADV_PARAM_INIT(BT_LE_ADV_OPT_CONN, 0x0320, 0x0348, NULL);

static struct bt_gatt_exchange_params mtu_params;

static void mtu_cb(struct bt_conn *conn, uint8_t err, struct bt_gatt_exchange_params *p)
{
	ARG_UNUSED(p);
	LOG_INF("MTU %u (err %u)", bt_gatt_get_mtu(conn), err);
}

static void connected(struct bt_conn *conn, uint8_t err)
{
	if (err) {
		return;
	}
	advertising = false;
	cur_conn = bt_conn_ref(conn);
	atomic_clear(&notify_in_flight);
	mtu_params.func = mtu_cb;
	bt_gatt_exchange_mtu(conn, &mtu_params);
	if (on_conn) {
		on_conn(true);
	}
}

static void disconnected(struct bt_conn *conn, uint8_t reason)
{
	ARG_UNUSED(reason);
	if (cur_conn == conn) {
		bt_conn_unref(cur_conn);
		cur_conn = NULL;
	}
	notify_count = notify_event = notify_status = notify_capture = false;
	fast_link = false;
	if (on_conn) {
		on_conn(false); /* main decides whether to re-advertise */
	}
}

static void security_changed(struct bt_conn *conn, bt_security_t level, enum bt_security_err err)
{
	ARG_UNUSED(conn);
	if (err == BT_SECURITY_ERR_SUCCESS && level >= BT_SECURITY_L2) {
		atomic_set(&link_secured, 1);
	}
}

BT_CONN_CB_DEFINE(conn_cbs) = {
	.connected = connected,
	.disconnected = disconnected,
	.security_changed = security_changed,
};

bool ble_link_secured(void)
{
	return atomic_get(&link_secured) != 0;
}

int ble_init(ble_ctrl_cb_t ctrl, ble_cfg_cb_t cfg, ble_conn_cb_t conn)
{
	on_ctrl = ctrl;
	on_cfg = cfg;
	on_conn = conn;
	int err = bt_enable(NULL);

	if (err) {
		return err;
	}
	settings_load_subtree("bt");
	return identity_apply();
}

int ble_adv_start(void)
{
	if (advertising || cur_conn) {
		return 0;
	}
	const char *name = bt_get_name();
	struct bt_data sd[] = {
		BT_DATA(BT_DATA_NAME_COMPLETE, name, strlen(name)),
	};
	size_t ad_len = pairing_open ? AD_FIELDS : AD_PAIRING;
	int err = bt_le_adv_start(&adv_param, ad, ad_len, sd, ARRAY_SIZE(sd));
	if (!err || err == -EALREADY) {
		advertising = true;
		return 0;
	}
	LOG_WRN("adv start %d", err);
	return err;
}

void ble_adv_stop(void)
{
	if (advertising) {
		bt_le_adv_stop();
		advertising = false;
	}
}

void ble_adv_set_pairing(bool open)
{
	if (open == pairing_open) {
		return;
	}
	pairing_open = open;
	if (advertising) {
		ble_adv_stop();
		ble_adv_start();
	}
}

void ble_set_bulk(bool busy)
{
	uint32_t now = k_uptime_get_32();

	if (busy) {
		bulk_seen_ms = now;
	}
	bool want = busy || (fast_link && now - bulk_seen_ms < BULK_LINGER_MS);

	if (!cur_conn || want == fast_link) {
		return;
	}
	if (bt_conn_le_param_update(cur_conn, want ? &fast_param : &slow_param) == 0) {
		fast_link = want;
	}
}

bool ble_is_connected(void)
{
	return cur_conn != NULL;
}

bool ble_is_advertising(void)
{
	return advertising;
}

void ble_update_count(const sp_count_t *c)
{
	v_count = *c;
	if (cur_conn && notify_count) {
		bt_gatt_notify(cur_conn, ATTR_COUNT, &v_count, sizeof(v_count));
	}
}

void ble_update_status(const sp_status_t *s)
{
	bool changed = memcmp(&v_status, s, sizeof(*s)) != 0;
	v_status = *s;
	bt_bas_set_battery_level(s->battery_pct);
	if (changed && cur_conn && notify_status) {
		bt_gatt_notify(cur_conn, ATTR_STATUS, &v_status, sizeof(v_status));
	}
}

void ble_update_config(const sp_config_t *c)
{
	v_cfg = *c;
}

void ble_update_diag(const sp_diag_t *d)
{
	v_diag = *d;
}

void ble_set_tx_done_cb(ble_tx_done_cb_t cb)
{
	on_tx_done = cb;
}

static void paced_sent(struct bt_conn *conn, void *user_data)
{
	ARG_UNUSED(conn);
	ARG_UNUSED(user_data);
	if (atomic_get(&notify_in_flight) > 0) {
		atomic_dec(&notify_in_flight);
	}
	if (on_tx_done) {
		on_tx_done();
	}
}

static uint16_t room_if(bool subscribed)
{
	if (!cur_conn || !subscribed) {
		return 0;
	}
	return (uint16_t)(bt_gatt_get_mtu(cur_conn) - ATT_NOTIFY_OVERHEAD);
}

uint16_t ble_capture_room(void)
{
	return room_if(notify_capture);
}

uint16_t ble_event_room(void)
{
	return room_if(notify_event);
}

static int send_paced(struct bt_gatt_notify_params *params)
{
	if (atomic_get(&notify_in_flight) >= NOTIFY_MAX_IN_FLIGHT) {
		return -EAGAIN;
	}
	params->func = paced_sent;
	atomic_inc(&notify_in_flight);
	int err = bt_gatt_notify_cb(cur_conn, params);
	if (err) {
		atomic_dec(&notify_in_flight);
	}
	return err;
}

int ble_send_events(const uint8_t *data, uint16_t len)
{
	struct bt_gatt_notify_params params = {
		.attr = ATTR_EVENT,
		.data = data,
		.len = len,
	};

	if (!cur_conn || !notify_event) {
		return -ENOTCONN;
	}
	return send_paced(&params);
}

int ble_send_capture(const uint8_t *data, uint16_t len)
{
	struct bt_gatt_notify_params params = {
		.attr = ATTR_CAPTURE,
		.data = data,
		.len = len,
	};

	if (!cur_conn || !notify_capture) {
		return -ENOTCONN;
	}
	return send_paced(&params);
}
```

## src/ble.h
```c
/* ble.h - ShotPuck GATT service + advertising, see docs/PROTOCOL.md */
#ifndef BLE_H
#define BLE_H

#include <stdbool.h>
#include <stdint.h>
#include "protocol.h"

/* Called from the BT RX thread: copy and hand off, do not block. */
typedef int (*ble_ctrl_cb_t)(const uint8_t *data, uint16_t len);
typedef int (*ble_cfg_cb_t)(const sp_config_t *cfg);   /* 0 = accepted */
typedef void (*ble_conn_cb_t)(bool connected);
typedef void (*ble_tx_done_cb_t)(void);

int ble_init(ble_ctrl_cb_t ctrl, ble_cfg_cb_t cfg, ble_conn_cb_t conn);
int ble_adv_start(void);
void ble_adv_stop(void);
void ble_adv_set_pairing(bool open);
void ble_set_bulk(bool busy);
bool ble_is_connected(void);
bool ble_is_advertising(void);
bool ble_link_secured(void);

void ble_update_count(const sp_count_t *c);
void ble_update_status(const sp_status_t *s);
void ble_update_config(const sp_config_t *c);
void ble_update_diag(const sp_diag_t *d);
void ble_set_tx_done_cb(ble_tx_done_cb_t cb);
uint16_t ble_capture_room(void);
uint16_t ble_event_room(void);
int ble_send_events(const uint8_t *data, uint16_t len);
int ble_send_capture(const uint8_t *data, uint16_t len);

#endif
```

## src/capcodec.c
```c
#include "capcodec.h"

#include <string.h>

#define BITS_PER_BYTE 8u
#define ACC_AXES 3u

typedef struct {
	uint32_t value;
	uint32_t count;
} codec_bits_t;

typedef struct {
	const codec_block_t *block;
	uint32_t axis;
	uint32_t residual[CODEC_PREDICTORS][CODEC_BLOCK_SAMPLES];
	uint32_t mode;
	uint32_t k;
} axis_job_t;

static uint32_t ones(uint32_t count)
{
	return (1u << count) - 1u;
}

void codec_set_axis(sp_cap_sample_t *sample, codec_axis_set_t set)
{
	if (set.axis < ACC_AXES) {
		sample->acc[set.axis] = set.value;
	} else {
		sample->gyro[set.axis - ACC_AXES] = set.value;
	}
}

int32_t codec_axis_value(const sp_cap_sample_t *sample, uint32_t axis)
{
	return axis < ACC_AXES ? sample->acc[axis] : sample->gyro[axis - ACC_AXES];
}

uint32_t codec_zigzag(int32_t value)
{
	return value < 0 ? ((uint32_t)(-(value + 1)) << 1) | 1u : (uint32_t)value << 1;
}

int32_t codec_unzigzag(uint32_t value)
{
	return (value & 1u) ? -(int32_t)(value >> 1) - 1 : (int32_t)(value >> 1);
}

void capenc_init(capenc_t *enc)
{
	memset(enc, 0, sizeof(*enc));
}

static void put_bits(capenc_t *enc, codec_bits_t bits)
{
	for (uint32_t i = bits.count; i > 0; i--) {
		uint32_t byte = enc->out_bits / BITS_PER_BYTE;
		uint32_t shift = (BITS_PER_BYTE - 1u) - enc->out_bits % BITS_PER_BYTE;

		if (shift == BITS_PER_BYTE - 1u) {
			enc->out[byte] = 0;
		}
		enc->out[byte] |= (uint8_t)(((bits.value >> (i - 1u)) & 1u) << shift);
		enc->out_bits++;
	}
}

static uint32_t rice_bits(uint32_t value, uint32_t k)
{
	uint32_t q = value >> k;

	return q < CODEC_ESCAPE_Q ? q + 1u + k : CODEC_ESCAPE_Q + CODEC_ESCAPE_BITS;
}

static void put_rice(capenc_t *enc, codec_bits_t code)
{
	uint32_t q = code.value >> code.count;

	if (q >= CODEC_ESCAPE_Q) {
		put_bits(enc, (codec_bits_t){ones(CODEC_ESCAPE_Q), CODEC_ESCAPE_Q});
		put_bits(enc, (codec_bits_t){code.value, CODEC_ESCAPE_BITS});
		return;
	}
	put_bits(enc, (codec_bits_t){ones(q) << 1, q + 1u});
	put_bits(enc, (codec_bits_t){code.value & ones(code.count), code.count});
}

static void build_series(capenc_t *enc, axis_job_t *job)
{
	int32_t last = enc->last[job->axis];
	int32_t before = enc->before_last[job->axis];

	for (uint32_t n = 0; n < job->block->count; n++) {
		int32_t x = codec_axis_value(&job->block->samples[n], job->axis);

		job->residual[CODEC_MODE_DELTA][n] = codec_zigzag(x - last);
		job->residual[CODEC_MODE_SLOPE][n] = codec_zigzag(x - (2 * last - before));
		before = last;
		last = x;
	}
	enc->last[job->axis] = last;
	enc->before_last[job->axis] = before;
}

static uint32_t series_cost(const axis_job_t *job, uint32_t k)
{
	uint32_t bits = CODEC_K_BITS;

	for (uint32_t n = 0; n < job->block->count; n++) {
		bits += rice_bits(job->residual[job->mode][n], k);
	}
	return bits;
}

static void choose(axis_job_t *job)
{
	uint32_t best = job->block->count * CODEC_RAW_BITS;
	uint32_t best_mode = CODEC_MODE_RAW;
	uint32_t best_k = 0;

	for (job->mode = 0; job->mode < CODEC_PREDICTORS; job->mode++) {
		for (uint32_t k = 0; k <= CODEC_MAX_K; k++) {
			uint32_t bits = series_cost(job, k);
			if (bits < best) {
				best = bits;
				best_mode = job->mode;
				best_k = k;
			}
		}
	}
	job->mode = best_mode;
	job->k = best_k;
}

static void put_axis(capenc_t *enc, const axis_job_t *job)
{
	put_bits(enc, (codec_bits_t){job->mode, CODEC_MODE_BITS});
	if (job->mode == CODEC_MODE_RAW) {
		for (uint32_t n = 0; n < job->block->count; n++) {
			int32_t x = codec_axis_value(&job->block->samples[n], job->axis);
			put_bits(enc, (codec_bits_t){(uint16_t)x, CODEC_RAW_BITS});
		}
		return;
	}
	put_bits(enc, (codec_bits_t){job->k, CODEC_K_BITS});
	for (uint32_t n = 0; n < job->block->count; n++) {
		put_rice(enc, (codec_bits_t){job->residual[job->mode][n], job->k});
	}
}

int capenc_block(capenc_t *enc, const codec_block_t *block)
{
	if (block->count == 0 || block->count > CODEC_BLOCK_SAMPLES) {
		return CODEC_ERR_INPUT;
	}
	for (uint32_t axis = 0; axis < CODEC_AXES; axis++) {
		axis_job_t job = {.block = block, .axis = axis};

		build_series(enc, &job);
		choose(&job);
		put_axis(enc, &job);
	}
	return 0;
}

void capenc_finish(capenc_t *enc)
{
	enc->out_bits = (enc->out_bits + BITS_PER_BYTE - 1u) / BITS_PER_BYTE * BITS_PER_BYTE;
}

uint32_t capenc_take(capenc_t *enc, codec_bytes_t *bytes)
{
	uint32_t whole = enc->out_bits / BITS_PER_BYTE;
	uint32_t n = whole < bytes->len ? whole : bytes->len;
	uint32_t keep_bits = enc->out_bits - n * BITS_PER_BYTE;

	memcpy(bytes->data, enc->out, n);
	memmove(enc->out, enc->out + n, (keep_bits + BITS_PER_BYTE - 1u) / BITS_PER_BYTE);
	enc->out_bits = keep_bits;
	bytes->len = n;
	return n;
}
```

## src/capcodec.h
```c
#ifndef CAPCODEC_H
#define CAPCODEC_H

#include <stdint.h>

#include "protocol.h"

#define CODEC_BLOCK_SAMPLES 32u
#define CODEC_AXES 6u
#define CODEC_MODE_BITS 2u
#define CODEC_K_BITS 5u
#define CODEC_MAX_K 17u
#define CODEC_RAW_BITS 16u
#define CODEC_ESCAPE_Q 24u
#define CODEC_ESCAPE_BITS 18u
#define CODEC_OUT_BYTES 512u
#define CODEC_IN_BYTES 64u
#define CODEC_ERR_INPUT (-1)
#define CODEC_ERR_DATA (-2)

enum { CODEC_MODE_DELTA, CODEC_MODE_SLOPE, CODEC_MODE_RAW, CODEC_PREDICTORS = CODEC_MODE_RAW };

typedef struct {
	const sp_cap_sample_t *samples;
	uint32_t count;
} codec_block_t;

typedef struct {
	uint8_t *data;
	uint32_t len;
} codec_bytes_t;

typedef struct {
	uint32_t axis;
	int16_t value;
} codec_axis_set_t;

typedef struct {
	int32_t last[CODEC_AXES];
	int32_t before_last[CODEC_AXES];
	uint8_t out[CODEC_OUT_BYTES];
	uint32_t out_bits;
} capenc_t;

typedef struct capdec capdec_t;
typedef int (*capdec_refill_t)(capdec_t *dec);

struct capdec {
	int32_t last[CODEC_AXES];
	int32_t before_last[CODEC_AXES];
	sp_cap_sample_t block[CODEC_BLOCK_SAMPLES];
	uint32_t block_len;
	uint32_t block_next;
	uint32_t remaining;
	uint8_t in[CODEC_IN_BYTES];
	uint32_t in_len;
	uint32_t in_bit;
	uint32_t source_offset;
	capdec_refill_t refill;
	void *context;
};

void capenc_init(capenc_t *enc);
int capenc_block(capenc_t *enc, const codec_block_t *block);
void capenc_finish(capenc_t *enc);
uint32_t capenc_take(capenc_t *enc, codec_bytes_t *bytes);

void capdec_init(capdec_t *dec, uint32_t n_samples);
int capdec_next(capdec_t *dec, sp_cap_sample_t *sample);

void codec_set_axis(sp_cap_sample_t *sample, codec_axis_set_t set);
int32_t codec_axis_value(const sp_cap_sample_t *sample, uint32_t axis);
uint32_t codec_zigzag(int32_t value);
int32_t codec_unzigzag(uint32_t value);

#endif
```

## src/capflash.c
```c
#include "capflash.h"

#include <zephyr/storage/flash_map.h>

#define SECTOR_BYTES 4096u

static const struct flash_area *area;

static int area_read(const capstore_span_t *span)
{
	return flash_area_read(area, span->offset, span->data, span->len);
}

static int area_write(const capstore_wspan_t *span)
{
	return flash_area_write(area, span->offset, span->data, span->len);
}

static int area_erase(uint32_t offset)
{
	return flash_area_erase(area, offset, SECTOR_BYTES);
}

static capstore_flash_t capture_flash = {
	.read = area_read,
	.write = area_write,
	.erase_sector = area_erase,
	.sector_size = SECTOR_BYTES,
};

int capflash_init(capstore_t *store)
{
	int err = flash_area_open(FIXED_PARTITION_ID(capture_partition), &area);

	if (err) {
		return err;
	}
	capture_flash.size = (uint32_t)area->fa_size;
	return capstore_init(store, &capture_flash);
}
```

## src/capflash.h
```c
#ifndef CAPFLASH_H
#define CAPFLASH_H

#include "capstore.h"

int capflash_init(capstore_t *store);

#endif
```
